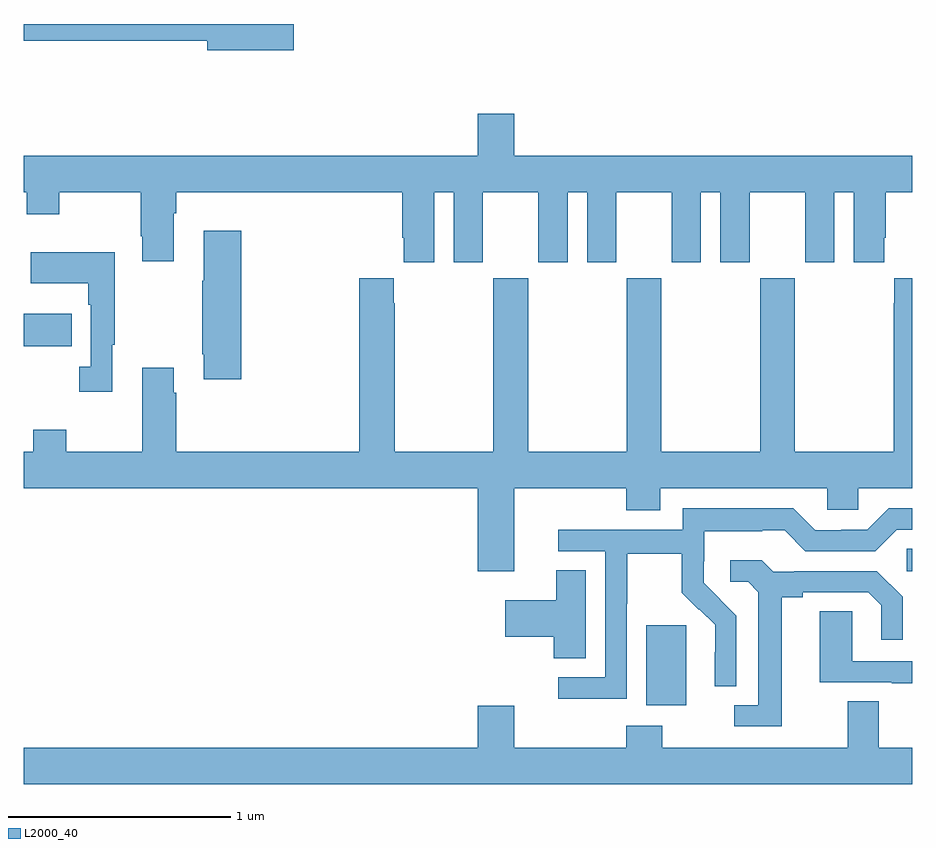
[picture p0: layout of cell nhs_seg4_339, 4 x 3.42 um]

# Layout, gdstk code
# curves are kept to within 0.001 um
import gdstk
lib = gdstk.Library(unit=1e-6, precision=1e-09)
def R(c, l, rs):  # rectangles x0, y0, x1, y1
    for r in rs: c.add(gdstk.rectangle(r[:2], r[2:], *l))
def P(c, l, *ps):  # polygons
    for p in ps: c.add(gdstk.Polygon(p, *l))
L2000_40 = (2000, 40)

nhs_seg4_339 = lib.new_cell('nhs_seg4_339')
R(nhs_seg4_339, L2000_40, [(129.803,803.834,129.982,804.195), (130.974,804.438,131,804.539), (127,805.45,127.217,805.597)])
P(nhs_seg4_339, L2000_40, [(128.215,806.9),(127,806.9),(127,806.824),(127.826,806.824),(127.826,806.782),(128.215,806.782)],
  [(128.848,806.144),(128.936,806.144),(128.936,805.827),(129.067,805.827),(129.067,806.144),(129.317,806.144),(129.317,805.827),(129.448,805.827),(129.448,806.144),(129.536,806.144),(129.536,805.827),(129.667,805.827),(129.667,806.144),(129.917,806.144),(129.917,805.827),(130.048,805.827),(130.048,806.144),(130.136,806.144),(130.136,805.827),(130.267,805.827),(130.267,806.144),(130.517,806.144),(130.517,805.827),(130.648,805.827),(130.648,806.144),(130.736,806.144),(130.736,805.827),(130.873,805.827),(130.873,805.939),(130.88,805.939),(130.88,806.144),(131,806.144),(131,806.308),(129.208,806.308),(129.208,806.497),(129.044,806.497),(129.044,806.308),(127,806.308),(127,806.144),(127.014,806.144),(127.014,806.045),(127.161,806.045),(127.161,806.144),(127.528,806.144),(127.528,805.945),(127.535,805.945),(127.535,805.833),(127.675,805.833),(127.675,806.048),(127.688,806.048),(127.688,806.144),(128.705,806.144),(128.705,805.939),(128.711,805.939),(128.711,805.827),(128.848,805.827)],
  [(127.979,805.969),(127.811,805.969),(127.811,805.745),(127.804,805.745),(127.804,805.414),(127.811,805.414),(127.811,805.302),(127.979,805.302)],
  [(127.399,805.457),(127.411,805.457),(127.411,805.873),(127.033,805.873),(127.033,805.733),(127.29,805.733),(127.29,805.637),(127.302,805.637),(127.302,805.358),(127.251,805.358),(127.251,805.245),(127.399,805.245)],
  [(129.208,804.812),(129.713,804.812),(129.713,804.713),(129.865,804.713),(129.865,804.812),(130.617,804.812),(130.617,804.714),(130.755,804.714),(130.755,804.812),(131,804.812),(131,805.756),(130.919,805.756),(130.919,805.643),(130.915,805.643),(130.915,804.976),(130.47,804.976),(130.47,805.756),(130.315,805.756),(130.315,804.976),(129.87,804.976),(129.87,805.756),(129.715,805.756),(129.715,804.976),(129.27,804.976),(129.27,805.756),(129.114,805.756),(129.114,804.976),(128.67,804.976),(128.67,805.643),(128.665,805.643),(128.665,805.756),(128.51,805.756),(128.51,804.976),(127.688,804.976),(127.688,805.241),(127.675,805.241),(127.675,805.354),(127.535,805.354),(127.535,804.976),(127.191,804.976),(127.191,805.075),(127.043,805.075),(127.043,804.976),(127,804.976),(127,804.812),(129.044,804.812),(129.044,804.438),(129.208,804.438)],
  [(129.714,804.292),(129.717,804.292),(129.717,804.516),(129.961,804.516),(129.961,804.341),(130.038,804.264),(130.041,804.267),(130.112,804.197),(130.112,804.074),(130.11,804.074),(130.11,803.92),(130.206,803.92),(130.206,804.238),(130.06,804.386),(130.06,804.483),(130.062,804.483),(130.062,804.617),(130.325,804.617),(130.325,804.621),(130.425,804.621),(130.518,804.528),(130.833,804.528),(130.929,804.624),(131,804.624),(131,804.72),(130.893,804.72),(130.797,804.624),(130.679,804.624),(130.679,804.621),(130.563,804.621),(130.463,804.721),(129.966,804.721),(129.966,804.624),(129.405,804.624),(129.405,804.528),(129.618,804.528),(129.618,803.961),(129.405,803.961),(129.405,803.863),(129.714,803.863)],
  [(130.411,804.32),(130.507,804.32),(130.507,804.342),(130.802,804.342),(130.859,804.285),(130.859,804.129),(130.956,804.129),(130.956,804.322),(130.84,804.438),(130.468,804.438),(130.468,804.435),(130.374,804.435),(130.322,804.487),(130.179,804.487),(130.179,804.39),(130.26,804.39),(130.307,804.343),(130.307,803.835),(130.197,803.835),(130.197,803.739),(130.411,803.739)],
  [(129.529,804.443),(129.398,804.443),(129.398,804.307),(129.168,804.307),(129.168,804.142),(129.386,804.142),(129.386,804.046),(129.529,804.046)],
  [(131,804.033),(130.728,804.033),(130.728,804.257),(130.583,804.257),(130.583,803.937),(130.907,803.937),(130.907,803.933),(131,803.933)],
  [(131,803.644),(130.849,803.644),(130.849,803.852),(130.709,803.852),(130.709,803.644),(129.873,803.644),(129.873,803.743),(129.713,803.743),(129.713,803.644),(129.208,803.644),(129.208,803.833),(129.044,803.833),(129.044,803.644),(127,803.644),(127,803.48),(131,803.48)])

lib.write_gds('nhs_seg4_339.gds')
